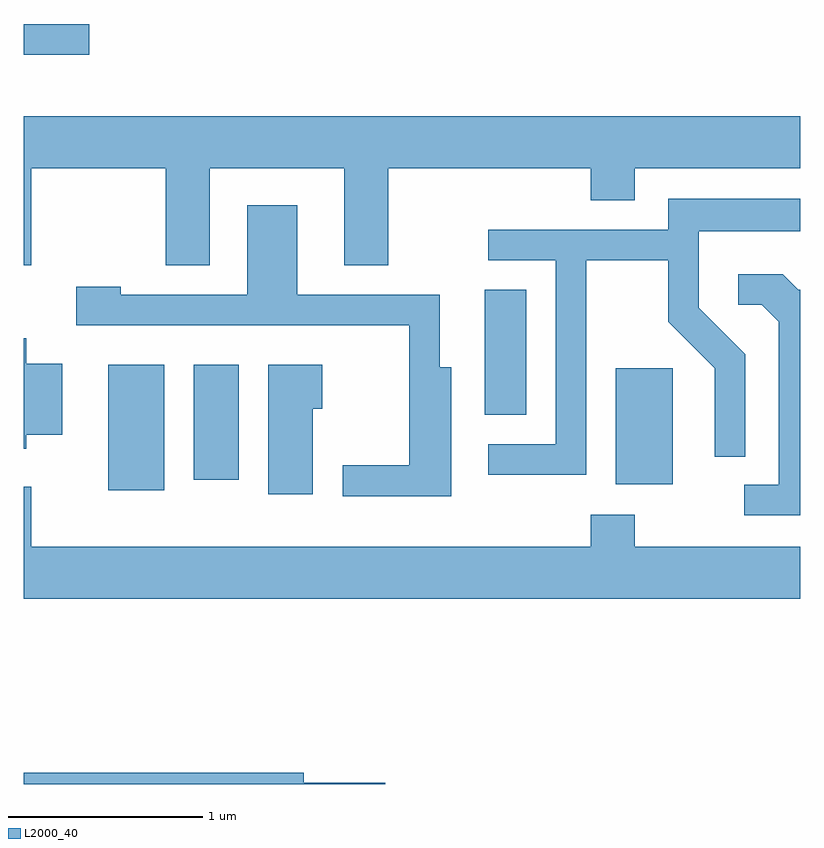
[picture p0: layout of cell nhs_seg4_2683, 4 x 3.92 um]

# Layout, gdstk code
import gdstk
lib = gdstk.Library(unit=1e-6, precision=1e-09)
def R(c, l, rs):  # rectangles x0, y0, x1, y1
    for r in rs: c.add(gdstk.rectangle(r[:2], r[2:], *l))
def P(c, l, *ps):  # polygons
    for p in ps: c.add(gdstk.Polygon(p, *l))
L2000_40 = (2000, 40)

nhs_seg4_2683 = lib.new_cell('nhs_seg4_2683')
R(nhs_seg4_2683, L2000_40, [(264.046,1317.496,264.334,1318.144), (266.661,1317.526,266.954,1318.124), (264.486,1317.551,264.719,1318.144), (265.986,1317.886,266.199,1318.529), (263.611,1319.741,263.948,1319.899)])
P(nhs_seg4_2683, L2000_40, [(263.649,1319.156),(264.341,1319.156),(264.341,1318.656),(264.569,1318.656),(264.569,1319.156),(265.261,1319.156),(265.261,1318.656),(265.489,1318.656),(265.489,1319.156),(266.531,1319.156),(266.531,1318.991),(266.759,1318.991),(266.759,1319.156),(267.611,1319.156),(267.611,1319.424),(263.611,1319.424),(263.611,1318.656),(263.649,1318.656)],
  [(266.509,1318.681),(266.931,1318.681),(266.931,1318.364),(267.171,1318.124),(267.171,1317.668),(267.329,1317.668),(267.329,1318.197),(267.089,1318.437),(267.089,1318.831),(267.611,1318.831),(267.611,1318.999),(266.931,1318.999),(266.931,1318.839),(266.003,1318.839),(266.003,1318.681),(266.351,1318.681),(266.351,1317.734),(266.003,1317.734),(266.003,1317.576),(266.509,1317.576)],
  [(265.814,1318.129),(265.754,1318.129),(265.754,1318.504),(265.019,1318.504),(265.019,1318.964),(264.761,1318.964),(264.761,1318.504),(264.109,1318.504),(264.109,1318.544),(263.881,1318.544),(263.881,1318.346),(265.596,1318.346),(265.596,1317.624),(265.253,1317.624),(265.253,1317.466),(265.814,1317.466)],
  [(267.611,1318.529),(267.602,1318.529),(267.522,1318.609),(267.293,1318.609),(267.293,1318.451),(267.414,1318.451),(267.501,1318.364),(267.501,1317.524),(267.323,1317.524),(267.323,1317.366),(267.611,1317.366)],
  [(263.624,1317.781),(263.809,1317.781),(263.809,1318.149),(263.624,1318.149),(263.624,1318.279),(263.611,1318.279),(263.611,1317.711),(263.624,1317.711)],
  [(265.099,1317.916),(265.149,1317.916),(265.149,1318.144),(264.871,1318.144),(264.871,1317.476),(265.099,1317.476)],
  [(267.611,1317.204),(266.759,1317.204),(266.759,1317.369),(266.531,1317.369),(266.531,1317.204),(263.649,1317.204),(263.649,1317.514),(263.611,1317.514),(263.611,1316.936),(267.611,1316.936)],
  [(265.474,1315.989),(265.054,1315.989),(265.054,1316.039),(263.611,1316.039),(263.611,1315.982),(265.474,1315.982)])

lib.write_gds('nhs_seg4_2683.gds')
